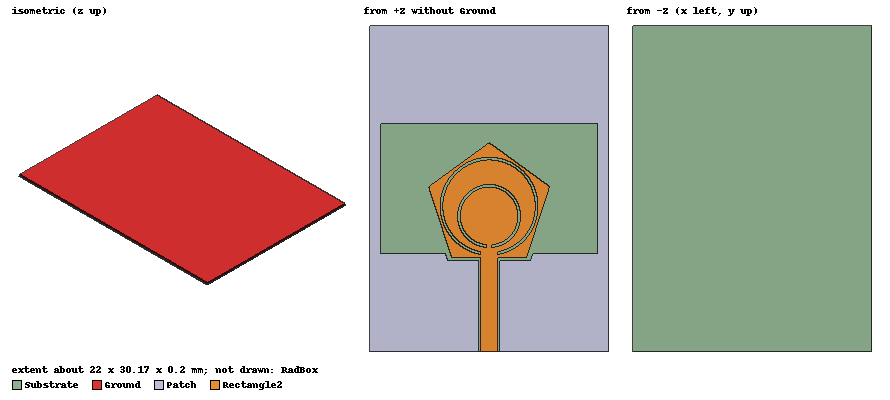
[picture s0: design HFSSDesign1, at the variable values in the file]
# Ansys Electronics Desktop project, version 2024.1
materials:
  vacuum: permittivity=1
  Krempel Akaflex PCL (tm): permittivity=3.3 dielectric_loss_tangent=0.0052
  air: permittivity=1.0006 permeability=1.0000004
  Plastic, LCP: permittivity=3.19374 conductivity=3.15469e-14 dielectric_loss_tangent=0.0173205

design HFSSDesign1 (HFSS, HFSS Terminal Network, model units mm)
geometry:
  Ground = rectangle(corner=((-22/2) mm, (30/2) mm, 0.1mm), x_size=22mm, y_size=-30mm)
  Rectangle1 = rectangle(corner=((-20/2) mm, (12/2) mm, 0mm), x_size=20mm, y_size=-12mm)
  R2 = circle(normal=Z, centre=(0mm, 0mm, 0mm), radius=2.9mm)
  R1 = circle(normal=Z, centre=(0mm, 0mm, 0mm), radius=4.5mm)
  Polygon1 = regular_polygon(axis=Z, centre=(0mm, 0mm, 0mm), first_corner=(0mm, 5.85mm, 0mm), sides=5)
  Rectangle2 = rectangle(corner=((-1.5/2) mm, -4.7327494mm, 0mm), x_size=1.5mm, y_size=-10.267251mm)
  [R1, R2, Polygon1].move(0mm, -1.6172506mm, 0mm)
  Circle1 = circle(normal=Z, centre=(0mm, -1.6172506mm, 0mm), radius=4.25mm)
  R1.subtract(Circle1)
  R2.move(0mm, -0.7mm, 0mm)
  Rectangle2.move(0mm, -0.66725058mm, 0mm)
  Rectangle3 = rectangle(corner=(-0.75mm, -5.4mm, 0mm), x_size=1.5mm, y_size=-0.95mm)
  Rectangle3_1 = Rectangle3.copy()
  Polygon1.subtract(Rectangle3_1)
  R1.subtract(Rectangle3)
  R2.move(0mm, -0.2mm, 0mm)
  Circle2 = circle(normal=Z, centre=(0mm, -2.5172506mm, 0mm), radius=2.65mm)
  R2.subtract(Circle2)
  Substrate [Plastic, LCP] = box(corner=(-11mm, 15mm, 0mm), size=(22mm, -30mm, -0.1mm))
  RadBox [air] = box(corner=(-50mm, -50mm, -45mm), size=(100mm, 100mm, 90mm))
  Rectangle4 = rectangle(corner=(-0.2mm, -5mm, 0mm), x_size=0.4mm, y_size=-0.6mm)
  R2.subtract(Rectangle4)
  Patch = rectangle(corner=(-11mm, 15mm, 0mm), x_size=22mm, y_size=-30mm)
  Polygon1.subtract(R1, R2)
  Patch.subtract(Rectangle1)
  Rectangle2.unite(Polygon1)
  Rectangle6 = rectangle(corner=(-1mm, -6.35mm, 0mm), x_size=0.25mm, y_size=-9.3172506mm)
  Rectangle7 = rectangle(corner=(-1mm, -15mm, 0mm), x_size=2mm, y_size=-1mm)
  Rectangle8 = rectangle(corner=(0.75mm, -6.35mm, 0mm), x_size=0.25mm, y_size=-8.65mm)
  Rectangle8.unite(Rectangle7, Rectangle6)
  Rectangle8_1 = Rectangle8.copy()
  Patch.subtract(Rectangle8_1)
  Rectangle2.subtract(Rectangle8)
  Polyline2 = polyline(z=0mm, xy in mm: (-3.55, -6) (-3.4385437, -6.35) (3.4385437, -6.35) (3.55, -6) (4, -6) (3.8, -6.6) (-3.8, -6.6) (-4, -6) (-3.55, -6), closed, covered)
  Rectangle9 = rectangle(corner=(-1mm, -6.35mm, 0mm), x_size=0.25mm, y_size=-0.25mm)
  Polyline2.subtract(Rectangle9)
  Rectangle10 = rectangle(corner=(0.75mm, -6.35mm, 0mm), x_size=0.25mm, y_size=-0.25mm)
  Polyline2.subtract(Rectangle10)
  Rectangle11 = rectangle(corner=(-0.75mm, -6.35mm, 0mm), x_size=1.5mm, y_size=-0.25mm)
  Polyline2.subtract(Rectangle11)
  Rectangle12 = rectangle(corner=(-3.6mm, -5.8mm, 0mm), x_size=7.2mm, y_size=-0.6mm)
  Patch.subtract(Polyline2, Rectangle12)
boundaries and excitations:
  Rad1: Radiation Objects=RadBox
  PerfE1: Perfect E Objects=Ground
  PerfE3: Perfect E Objects=Rectangle2
  1: Lumped Port Objects=Ground LumpedPortType=Modal Modes{Mode1{IntLine{(-8, -15, 0.1) -> (8.5, -15, 0.1)} CharImp=Zpi}} Impedance=50ohm
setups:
  Setup1: HfssDriven Frequency=2.45GHz MaxDeltaS=0.02 MaximumPasses=6 MinimumPasses=1 MinimumConvergedPasses=1 PercentRefinement=30 BasisOrder=1 PortAccuracy=2 DrivenSolverType="Direct Solver"
    sweep Sweep: 1.225GHz to 3.675GHz, 401 points; Type=Fast SaveFields
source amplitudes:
  1:1: 1V 0deg
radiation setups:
  Infinite Sphere1: Infinite Sphere Theta=0deg..360deg step 2deg Phi=0deg..360deg step 2deg
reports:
  S Parameter Plot 1: dB(S(1,1)) vs Freq on Setup1 : Sweep
